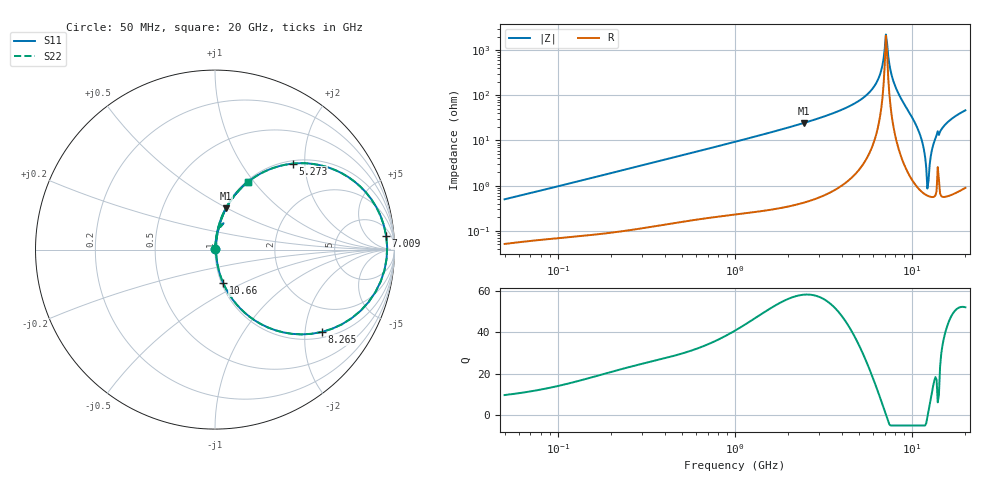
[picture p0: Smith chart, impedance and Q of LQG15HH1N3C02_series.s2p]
!Murata Part Number: LQG15HH1N3C02
!These Parameters are Measured in Series Mode Connection
!  o--[Z]--o
!Port1  Port2
!  o-------o
!Freq. Start=50[MHz] Stop=20[GHz], 401[Steps]
# Hz S RI R 50
!Freq.(Hz) S11(Real) S11(Imag) S21(Real) S21(Imag) S12(Real) S12(Imag) S22(Real) S22(Imag)
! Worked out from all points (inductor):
!   401 points, 50 MHz to 20 GHz, reference 50 ohm
!   read as one part in series: L = 1.56 nH near 51.52 MHz
!   highest Q = 58.2 at 2.456 GHz (marker M1), where L = 1.59 nH
!   self-resonance near 7.115 GHz
!   S11 on the Smith chart (normalised r, x): 50 MHz: 1.00, +0.01; 5.273 GHz: 1.06, +1.74; 7.009 GHz: 11, +19; 8.265 GHz: 1.16, -2.44; 10.66 GHz: 1.02, -0.39; 20 GHz: 1.02, +0.93
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5e7  0.000536 0.00495  0.9995 -0.00495  0.9995 -0.00495  0.000536 0.00495
1.364002e8  0.000938 0.013  0.9991 -0.013  0.9991 -0.013  0.000938 0.013
3.721004e8  0.00252 0.0348  0.9975 -0.0348  0.9975 -0.0348  0.00252 0.0348
1e9  0.0109 0.0922  0.9891 -0.0922  0.9891 -0.0922  0.0109 0.0922
2.456456e9  0.0603 0.2296  0.9397 -0.2296  0.9397 -0.2296  0.0603 0.2296
2.728004e9  0.0758 0.2562  0.9242 -0.2562  0.9242 -0.2562  0.0758 0.2562
5.273168e9  0.4328 0.4789  0.5672 -0.4789  0.5672 -0.4789  0.4328 0.4789
6.406762e9  0.8085 0.3524  0.1915 -0.3524  0.1915 -0.3524  0.8085 0.3524
6.701223e9  0.8989 0.2366  0.1011 -0.2366  0.1011 -0.2366  0.8989 0.2366
7.009217e9  0.954 0.0753  0.046 -0.0753  0.046 -0.0753  0.954 0.0753
7.222371e9  0.9561 -0.05  0.0439 0.05  0.0439 0.05  0.9561 -0.05
7.442007e9  0.9234 -0.1771  0.0766 0.1771  0.0766 0.1771  0.9234 -0.1771
7.784049e9  0.8112 -0.341  0.1888 0.341  0.1888 0.341  0.8112 -0.341
8.264682e9  0.5934 -0.4593  0.4066 0.4593  0.4066 0.4593  0.5934 -0.4593
9.316812e9  0.2222 -0.395  0.7778 0.395  0.7778 0.395  0.2222 -0.395
1.066139e10  0.0458 -0.1865  0.9542 0.1865  0.9542 0.1865  0.0458 -0.1865
1.149051e10  0.0136 -0.0809  0.9864 0.0809  0.9864 0.0809  0.0136 -0.0809
1.201863e10  0.00673 -0.0241  0.9933 0.0241  0.9933 0.0241  0.00673 -0.0241
1.238412e10  0.00594 0.0113  0.9941 -0.0113  0.9941 -0.0113  0.00594 0.0113
1.314879e10  0.0116 0.0772  0.9884 -0.0772  0.9884 -0.0772  0.0116 0.0772
1.396067e10  0.0476 0.1469  0.9524 -0.1469  0.9524 -0.1469  0.0476 0.1469
2e10  0.1829 0.3771  0.8171 -0.3771  0.8171 -0.3771  0.1829 0.3771
